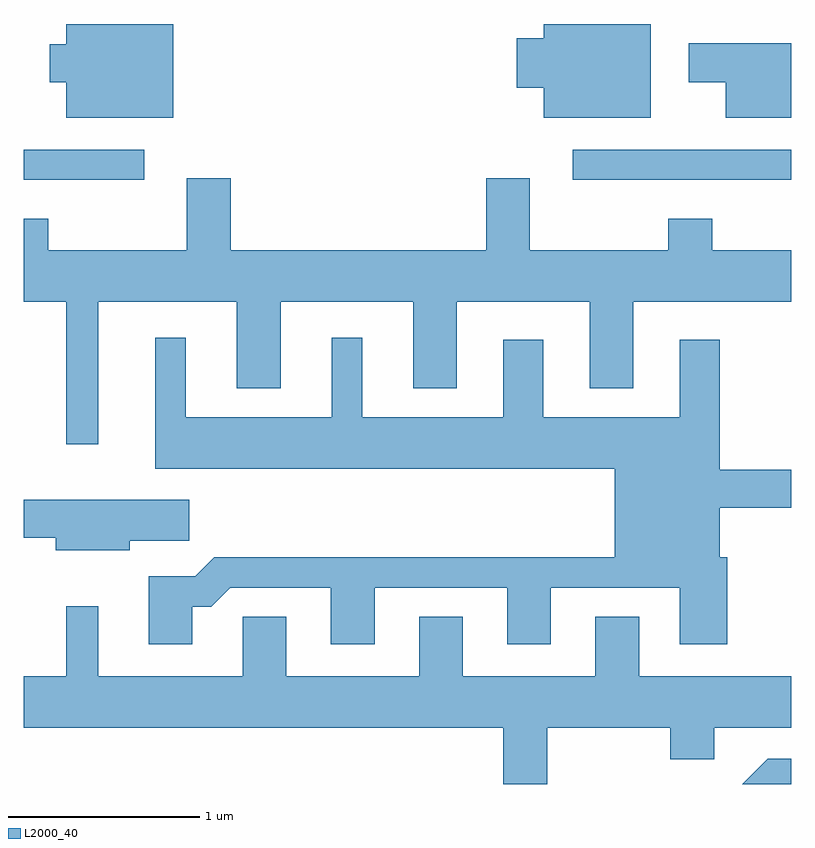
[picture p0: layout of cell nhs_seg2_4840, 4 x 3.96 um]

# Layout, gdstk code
import gdstk
lib = gdstk.Library(unit=1e-6, precision=1e-09)
def R(c, l, rs):  # rectangles x0, y0, x1, y1
    for r in rs: c.add(gdstk.rectangle(r[:2], r[2:], *l))
def P(c, l, *ps):  # polygons
    for p in ps: c.add(gdstk.Polygon(p, *l))
L2000_40 = (2000, 40)

nhs_seg2_4840 = lib.new_cell('nhs_seg2_4840')
R(nhs_seg2_4840, L2000_40, [(327.611,1048.951,328.238,1049.109), (330.473,1048.951,331.611,1049.109)])
P(nhs_seg2_4840, L2000_40, [(330.879,1049.764),(330.321,1049.764),(330.321,1049.689),(330.181,1049.689),(330.181,1049.431),(330.321,1049.431),(330.321,1049.276),(330.879,1049.276)],
  [(328.389,1049.764),(327.831,1049.764),(327.831,1049.659),(327.746,1049.659),(327.746,1049.461),(327.831,1049.461),(327.831,1049.276),(328.389,1049.276)],
  [(331.611,1049.664),(331.076,1049.664),(331.076,1049.461),(331.271,1049.461),(331.271,1049.276),(331.611,1049.276)],
  [(327.999,1048.316),(328.721,1048.316),(328.721,1047.866),(328.949,1047.866),(328.949,1048.316),(329.641,1048.316),(329.641,1047.866),(329.869,1047.866),(329.869,1048.316),(330.561,1048.316),(330.561,1047.866),(330.789,1047.866),(330.789,1048.316),(331.611,1048.316),(331.611,1048.584),(331.199,1048.584),(331.199,1048.749),(330.971,1048.749),(330.971,1048.584),(330.249,1048.584),(330.249,1048.959),(330.021,1048.959),(330.021,1048.584),(328.689,1048.584),(328.689,1048.959),(328.461,1048.959),(328.461,1048.584),(327.739,1048.584),(327.739,1048.749),(327.611,1048.749),(327.611,1048.316),(327.831,1048.316),(327.831,1047.573),(327.999,1047.573)],
  [(328.489,1046.726),(328.587,1046.726),(328.687,1046.826),(329.211,1046.826),(329.211,1046.531),(329.439,1046.531),(329.439,1046.826),(330.131,1046.826),(330.131,1046.531),(330.359,1046.531),(330.359,1046.826),(331.031,1046.826),(331.031,1046.531),(331.279,1046.531),(331.279,1046.984),(331.239,1046.984),(331.239,1047.241),(331.611,1047.241),(331.611,1047.439),(331.239,1047.439),(331.239,1048.119),(331.031,1048.119),(331.031,1047.714),(330.319,1047.714),(330.319,1048.119),(330.111,1048.119),(330.111,1047.714),(329.374,1047.714),(329.374,1048.128),(329.216,1048.128),(329.216,1047.714),(328.454,1047.714),(328.454,1048.128),(328.296,1048.128),(328.296,1047.446),(330.691,1047.446),(330.691,1046.984),(328.604,1046.984),(328.504,1046.884),(328.261,1046.884),(328.261,1046.531),(328.489,1046.531)],
  [(328.164,1047.071),(328.474,1047.071),(328.474,1047.284),(327.611,1047.284),(327.611,1047.086),(327.776,1047.086),(327.776,1047.021),(328.164,1047.021)],
  [(330.339,1046.096),(330.981,1046.096),(330.981,1045.931),(331.209,1045.931),(331.209,1046.096),(331.611,1046.096),(331.611,1046.364),(330.819,1046.364),(330.819,1046.674),(330.591,1046.674),(330.591,1046.364),(329.899,1046.364),(329.899,1046.674),(329.671,1046.674),(329.671,1046.364),(328.979,1046.364),(328.979,1046.674),(328.751,1046.674),(328.751,1046.364),(327.999,1046.364),(327.999,1046.728),(327.831,1046.728),(327.831,1046.364),(327.611,1046.364),(327.611,1046.096),(330.111,1046.096),(330.111,1045.802),(330.339,1045.802)],
  [(331.611,1045.934),(331.489,1045.934),(331.356,1045.802),(331.611,1045.802)])

lib.write_gds('nhs_seg2_4840.gds')
